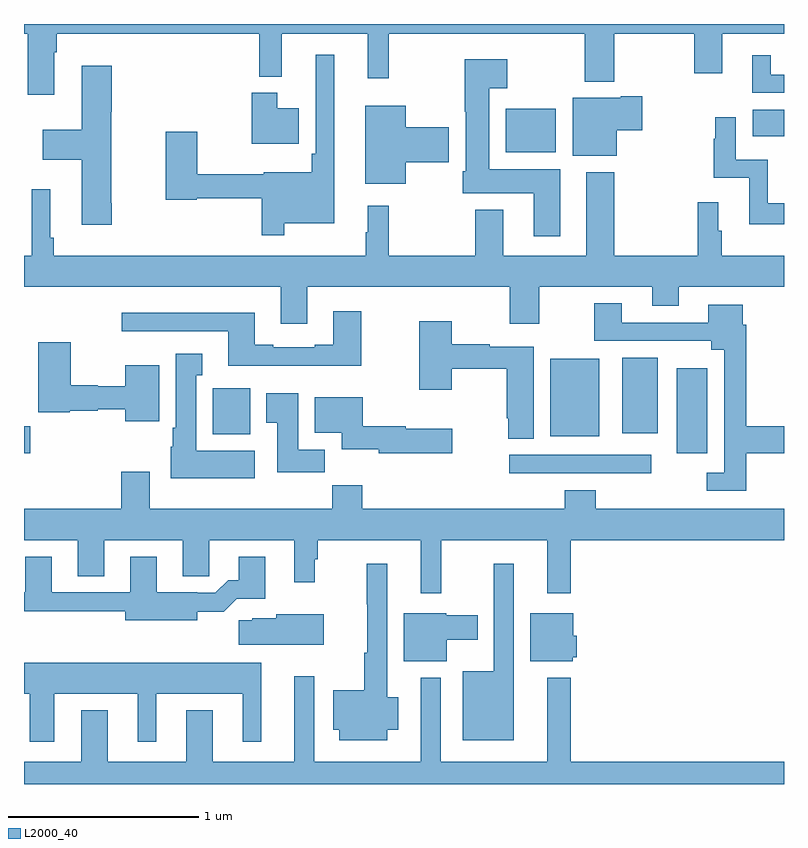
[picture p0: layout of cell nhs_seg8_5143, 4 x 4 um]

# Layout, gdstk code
import gdstk
lib = gdstk.Library(unit=1e-6, precision=1e-09)
def R(c, l, rs):  # rectangles x0, y0, x1, y1
    for r in rs: c.add(gdstk.rectangle(r[:2], r[2:], *l))
def P(c, l, *ps):  # polygons
    for p in ps: c.add(gdstk.Polygon(p, *l))
L2000_40 = (2000, 40)

nhs_seg8_5143 = lib.new_cell('nhs_seg8_5143')
R(nhs_seg8_5143, L2000_40, [(423.555,1099.536,424.3,1099.632), (424.436,1099.641,424.597,1100.089), (421,1099.642,421.033,1099.784), (423.77,1099.73,424.027,1100.137), (421.994,1099.742,422.191,1099.984), (424.148,1099.745,424.336,1100.143), (423.536,1101.224,423.799,1101.454), (424.836,1101.308,425,1101.448)])
P(nhs_seg8_5143, L2000_40, [(421.159,1101.752),(421.172,1101.752),(421.172,1101.848),(422.239,1101.848),(422.239,1101.623),(422.357,1101.623),(422.357,1101.848),(422.81,1101.848),(422.81,1101.615),(422.92,1101.615),(422.92,1101.848),(423.952,1101.848),(423.952,1101.596),(424.107,1101.596),(424.107,1101.848),(424.528,1101.848),(424.528,1101.642),(424.675,1101.642),(424.675,1101.848),(425,1101.848),(425,1101.9),(421,1101.9),(421,1101.848),(421.019,1101.848),(421.019,1101.528),(421.159,1101.528)],
  [(422.371,1100.852),(422.632,1100.852),(422.632,1101.739),(422.535,1101.739),(422.535,1101.217),(422.515,1101.217),(422.515,1101.121),(422.261,1101.121),(422.261,1101.11),(421.912,1101.11),(421.912,1101.334),(421.747,1101.334),(421.747,1100.974),(421.908,1100.974),(421.908,1100.982),(422.25,1100.982),(422.25,1100.787),(422.371,1100.787)],
  [(425,1101.633),(424.93,1101.633),(424.93,1101.736),(424.832,1101.736),(424.832,1101.537),(425,1101.537)],
  [(423.823,1101.136),(423.448,1101.136),(423.448,1101.563),(423.544,1101.563),(423.544,1101.715),(423.319,1101.715),(423.319,1101.439),(423.326,1101.439),(423.326,1101.126),(423.308,1101.126),(423.308,1101.008),(423.683,1101.008),(423.683,1100.784),(423.823,1100.784)],
  [(421.463,1100.956),(421.458,1100.956),(421.458,1101.439),(421.463,1101.439),(421.463,1101.679),(421.304,1101.679),(421.304,1101.343),(421.098,1101.343),(421.098,1101.185),(421.304,1101.185),(421.304,1100.844),(421.463,1100.844)],
  [(422.446,1101.457),(422.332,1101.457),(422.332,1101.538),(422.198,1101.538),(422.198,1101.269),(422.446,1101.269)],
  [(424.12,1101.341),(424.255,1101.341),(424.255,1101.519),(424.142,1101.519),(424.142,1101.511),(423.887,1101.511),(423.887,1101.206),(424.12,1101.206)],
  [(423.01,1101.173),(423.235,1101.173),(423.235,1101.356),(423.01,1101.356),(423.01,1101.469),(422.795,1101.469),(422.795,1101.059),(423.01,1101.059)],
  [(425,1100.956),(424.915,1100.956),(424.915,1101.186),(424.746,1101.186),(424.746,1101.409),(424.638,1101.409),(424.638,1101.296),(424.63,1101.296),(424.63,1101.09),(424.817,1101.09),(424.817,1100.846),(425,1100.846)],
  [(422.491,1100.516),(423.556,1100.516),(423.556,1100.322),(423.711,1100.322),(423.711,1100.516),(424.307,1100.516),(424.307,1100.417),(424.447,1100.417),(424.447,1100.516),(425,1100.516),(425,1100.68),(424.673,1100.68),(424.673,1100.813),(424.654,1100.813),(424.654,1100.962),(424.545,1100.962),(424.545,1100.68),(424.107,1100.68),(424.107,1101.121),(423.959,1101.121),(423.959,1100.68),(423.523,1100.68),(423.523,1100.923),(423.376,1100.923),(423.376,1100.68),(422.92,1100.68),(422.92,1100.944),(422.81,1100.944),(422.81,1100.804),(422.799,1100.804),(422.799,1100.68),(421.157,1100.68),(421.157,1100.776),(421.138,1100.776),(421.138,1101.031),(421.041,1101.031),(421.041,1100.68),(421,1100.68),(421,1100.516),(422.351,1100.516),(422.351,1100.322),(422.491,1100.322)],
  [(424.802,1099.642),(425,1099.642),(425,1099.784),(424.802,1099.784),(424.802,1100.318),(424.783,1100.318),(424.783,1100.422),(424.601,1100.422),(424.601,1100.328),(424.147,1100.328),(424.147,1100.431),(424,1100.431),(424,1100.232),(424.616,1100.232),(424.616,1100.186),(424.686,1100.186),(424.686,1099.539),(424.593,1099.539),(424.593,1099.443),(424.802,1099.443)],
  [(422.775,1100.389),(422.627,1100.389),(422.627,1100.212),(422.531,1100.212),(422.531,1100.199),(422.311,1100.199),(422.311,1100.212),(422.215,1100.212),(422.215,1100.38),(421.515,1100.38),(421.515,1100.283),(422.075,1100.283),(422.075,1100.102),(422.775,1100.102)],
  [(423.682,1100.202),(423.452,1100.202),(423.452,1100.215),(423.252,1100.215),(423.252,1100.335),(423.079,1100.335),(423.079,1099.974),(423.252,1099.974),(423.252,1100.086),(423.541,1100.086),(423.541,1099.825),(423.548,1099.825),(423.548,1099.717),(423.682,1099.717)],
  [(421.711,1100.104),(421.532,1100.104),(421.532,1099.993),(421.389,1099.993),(421.389,1100),(421.246,1100),(421.246,1100.224),(421.076,1100.224),(421.076,1099.856),(421.242,1099.856),(421.242,1099.864),(421.389,1099.864),(421.389,1099.872),(421.532,1099.872),(421.532,1099.808),(421.711,1099.808)],
  [(422.215,1099.654),(421.906,1099.654),(421.906,1100.051),(421.939,1100.051),(421.939,1100.164),(421.799,1100.164),(421.799,1099.774),(421.784,1099.774),(421.784,1099.674),(421.772,1099.674),(421.772,1099.508),(422.215,1099.508)],
  [(422.582,1099.66),(422.443,1099.66),(422.443,1099.957),(422.276,1099.957),(422.276,1099.801),(422.333,1099.801),(422.333,1099.542),(422.582,1099.542)],
  [(423.253,1099.771),(423.009,1099.771),(423.009,1099.784),(422.782,1099.784),(422.782,1099.936),(422.531,1099.936),(422.531,1099.748),(422.672,1099.748),(422.672,1099.661),(422.868,1099.661),(422.868,1099.642),(423.253,1099.642)],
  [(423.196,1099.184),(423.755,1099.184),(423.755,1098.903),(423.877,1098.903),(423.877,1099.184),(425,1099.184),(425,1099.348),(424.01,1099.348),(424.01,1099.447),(423.845,1099.447),(423.845,1099.348),(422.78,1099.348),(422.78,1099.472),(422.623,1099.472),(422.623,1099.348),(421.663,1099.348),(421.663,1099.543),(421.511,1099.543),(421.511,1099.348),(421,1099.348),(421,1099.184),(421.283,1099.184),(421.283,1098.994),(421.423,1098.994),(421.423,1099.184),(421.835,1099.184),(421.835,1098.994),(421.974,1098.994),(421.974,1099.184),(422.423,1099.184),(422.423,1098.963),(422.53,1098.963),(422.53,1099.082),(422.545,1099.082),(422.545,1099.184),(423.089,1099.184),(423.089,1098.903),(423.196,1098.903)],
  [(421.912,1098.806),(422.051,1098.806),(422.121,1098.876),(422.269,1098.876),(422.269,1099.096),(422.129,1099.096),(422.129,1098.973),(422.074,1098.973),(422.007,1098.906),(421.913,1098.906),(421.913,1098.909),(421.699,1098.909),(421.699,1099.096),(421.559,1099.096),(421.559,1098.909),(421.147,1098.909),(421.147,1099.096),(421.007,1099.096),(421.007,1098.909),(421,1098.909),(421,1098.808),(421.532,1098.808),(421.532,1098.761),(421.912,1098.761)],
  [(422.911,1098.185),(422.971,1098.185),(422.971,1098.356),(422.911,1098.356),(422.911,1099.06),(422.805,1099.06),(422.805,1098.847),(422.807,1098.847),(422.807,1098.59),(422.79,1098.59),(422.79,1098.394),(422.627,1098.394),(422.627,1098.185),(422.66,1098.185),(422.66,1098.131),(422.911,1098.131)],
  [(423.577,1099.06),(423.473,1099.06),(423.473,1098.493),(423.308,1098.493),(423.308,1098.131),(423.577,1098.131)],
  [(423.888,1098.567),(423.91,1098.567),(423.91,1098.681),(423.892,1098.681),(423.892,1098.799),(423.665,1098.799),(423.665,1098.545),(423.888,1098.545)],
  [(423.226,1098.659),(423.388,1098.659),(423.388,1098.789),(423.222,1098.789),(423.222,1098.799),(422.999,1098.799),(422.999,1098.545),(423.226,1098.545)],
  [(422.578,1098.793),(422.328,1098.793),(422.328,1098.772),(422.202,1098.772),(422.202,1098.761),(422.13,1098.761),(422.13,1098.632),(422.578,1098.632)],
  [(421.159,1098.374),(421.598,1098.374),(421.598,1098.123),(421.696,1098.123),(421.696,1098.374),(422.15,1098.374),(422.15,1098.123),(422.248,1098.123),(422.248,1098.538),(421,1098.538),(421,1098.374),(421.031,1098.374),(421.031,1098.123),(421.159,1098.123)],
  [(425,1098.016),(423.877,1098.016),(423.877,1098.46),(423.755,1098.46),(423.755,1098.016),(423.193,1098.016),(423.193,1098.46),(423.089,1098.46),(423.089,1098.016),(422.527,1098.016),(422.527,1098.466),(422.423,1098.466),(422.423,1098.016),(421.993,1098.016),(421.993,1098.289),(421.853,1098.289),(421.853,1098.016),(421.441,1098.016),(421.441,1098.289),(421.301,1098.289),(421.301,1098.016),(421,1098.016),(421,1097.9),(425,1097.9)])

lib.write_gds('nhs_seg8_5143.gds')
